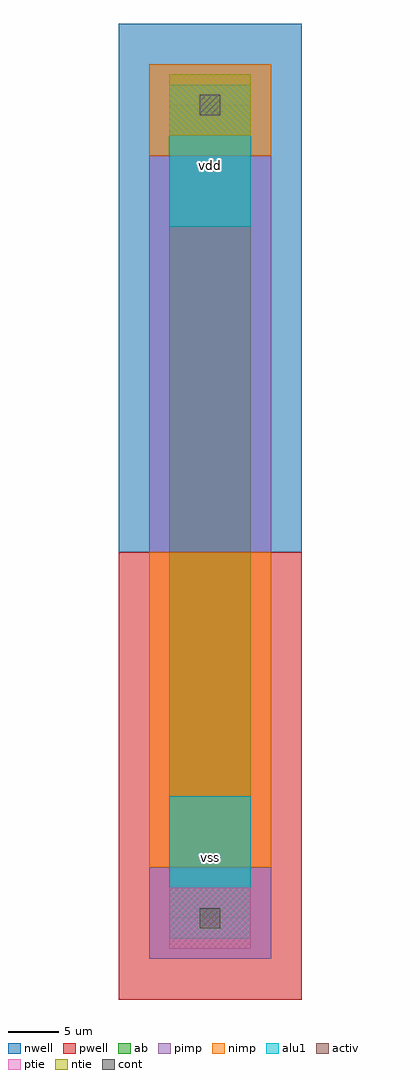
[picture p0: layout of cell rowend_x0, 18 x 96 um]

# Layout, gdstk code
import gdstk
lib = gdstk.Library(unit=1e-6, precision=1e-09)
def R(c, l, rs):  # rectangles x0, y0, x1, y1
    for r in rs: c.add(gdstk.rectangle(r[:2], r[2:], *l))
ntie = (5, 0)
ptie = (6, 0)
cont = (25, 0)
pwell = (41, 0)
nwell = (42, 0)
activ = (43, 0)
pimp = (44, 0)
nimp = (45, 0)
alu1 = (49, 0)
ab = (63, 0)

rowend_x0 = lib.new_cell('rowend_x0')
R(rowend_x0, ntie, [(0,77,8,83)])
R(rowend_x0, ptie, [(0,-3,8,3)])
R(rowend_x0, cont, [(3,-1,5,1), (3,79,5,81)])
R(rowend_x0, pwell, [(-5,-8,13,36)])
R(rowend_x0, nwell, [(-5,36,13,88)])
R(rowend_x0, activ, [(0,-3,8,3), (0,77,8,83)])
R(rowend_x0, pimp, [(-2,-4,10,5), (-2,36,10,75)])
R(rowend_x0, nimp, [(-2,5,10,36), (-2,75,10,84)])
R(rowend_x0, alu1, [(0,-2,8,12), (0,68,8,82)])
R(rowend_x0, ab, [(0,0,8,80)])
rowend_x0.add(gdstk.Label('vss', (4,6), layer=49, texttype=0))
rowend_x0.add(gdstk.Label('vdd', (4,74), layer=49, texttype=0))

lib.write_gds('rowend_x0.gds')
